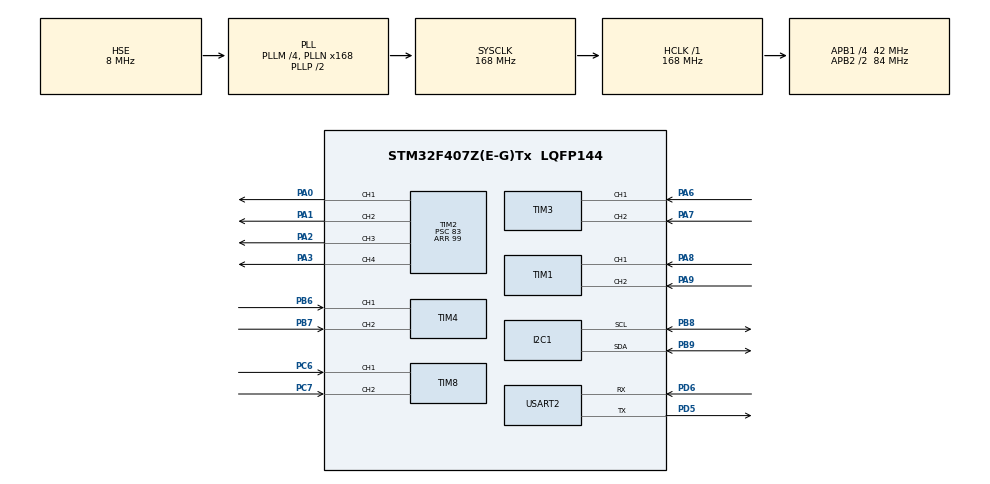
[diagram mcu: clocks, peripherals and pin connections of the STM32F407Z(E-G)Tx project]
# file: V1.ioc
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Mcu.Family=STM32F4
Mcu.Name=STM32F407Z(E-G)Tx
Mcu.Package=LQFP144
NVIC.PriorityGroup=NVIC_PRIORITYGROUP_4
NVIC.RCC_IRQn=true\:0\:0\:false\:false\:true\:true\:false\:true
NVIC.TIM1_CC_IRQn=true\:0\:0\:false\:false\:true\:true\:true\:true
NVIC.TIM1_UP_TIM10_IRQn=true\:0\:0\:false\:false\:true\:true\:true\:true
NVIC.TIM3_IRQn=true\:0\:0\:false\:false\:true\:true\:true\:true
NVIC.TIM4_IRQn=true\:0\:0\:false\:false\:true\:true\:true\:true
NVIC.TIM8_CC_IRQn=true\:0\:0\:false\:false\:true\:true\:true\:true
NVIC.TIM8_UP_TIM13_IRQn=true\:0\:0\:false\:false\:true\:true\:true\:true
PA0-WKUP.Signal=S_TIM2_CH1_ETR
PA1.Signal=S_TIM2_CH2
PA13.Mode=Serial_Wire
PA13.Signal=SYS_JTMS-SWDIO
PA14.Mode=Serial_Wire
PA14.Signal=SYS_JTCK-SWCLK
PA2.Signal=S_TIM2_CH3
PA3.Signal=S_TIM2_CH4
PA6.GPIO_Speed=GPIO_SPEED_FREQ_MEDIUM
PA6.Signal=S_TIM3_CH1
PA7.GPIO_Speed=GPIO_SPEED_FREQ_MEDIUM
PA7.Signal=S_TIM3_CH2
PA8.GPIO_Speed=GPIO_SPEED_FREQ_MEDIUM
PA8.Signal=S_TIM1_CH1
PA9.GPIO_Speed=GPIO_SPEED_FREQ_MEDIUM
PA9.Signal=S_TIM1_CH2
PB6.GPIO_Speed=GPIO_SPEED_FREQ_MEDIUM
PB6.Signal=S_TIM4_CH1
PB7.GPIO_Speed=GPIO_SPEED_FREQ_MEDIUM
PB7.Signal=S_TIM4_CH2
PB8.Mode=I2C
PB8.Signal=I2C1_SCL
PB9.Mode=I2C
PB9.Signal=I2C1_SDA
PC6.Signal=S_TIM8_CH1
PC7.Signal=S_TIM8_CH2
PD5.Mode=Asynchronous
PD5.Signal=USART2_TX
PD6.Mode=Asynchronous
PD6.Signal=USART2_RX
PH0-OSC_IN.Mode=HSE-External-Oscillator
PH0-OSC_IN.Signal=RCC_OSC_IN
PH1-OSC_OUT.Mode=HSE-External-Oscillator
PH1-OSC_OUT.Signal=RCC_OSC_OUT
ProjectManager.HeapSize=0x200
ProjectManager.StackSize=0x400
ProjectManager.TargetToolchain=CMake
RCC.48MHZClocksFreq_Value=84000000
RCC.AHBFreq_Value=168000000
RCC.APB1CLKDivider=RCC_HCLK_DIV4
RCC.APB1Freq_Value=42000000
RCC.APB1TimFreq_Value=84000000
RCC.APB2CLKDivider=RCC_HCLK_DIV2
RCC.APB2Freq_Value=84000000
RCC.APB2TimFreq_Value=168000000
RCC.CortexFreq_Value=168000000
RCC.HCLKFreq_Value=168000000
RCC.HSE_VALUE=8000000
RCC.HSI_VALUE=16000000
RCC.LSE_VALUE=32768
RCC.PLLM=4
RCC.PLLN=168
RCC.PLLSourceVirtual=RCC_PLLSOURCE_HSE
RCC.SYSCLKFreq_VALUE=168000000
RCC.SYSCLKSource=RCC_SYSCLKSOURCE_PLLCLK
RCC.VCOOutputFreq_Value=336000000
SH.S_TIM1_CH1.0=TIM1_CH1,Encoder_Interface
SH.S_TIM1_CH2.0=TIM1_CH2,Encoder_Interface
SH.S_TIM2_CH1_ETR.0=TIM2_CH1,PWM Generation1 CH1
SH.S_TIM2_CH2.0=TIM2_CH2,PWM Generation2 CH2
SH.S_TIM2_CH3.0=TIM2_CH3,PWM Generation3 CH3
SH.S_TIM2_CH4.0=TIM2_CH4,PWM Generation4 CH4
SH.S_TIM3_CH1.0=TIM3_CH1,Encoder_Interface
SH.S_TIM3_CH2.0=TIM3_CH2,Encoder_Interface
SH.S_TIM4_CH1.0=TIM4_CH1,Encoder_Interface
SH.S_TIM4_CH2.0=TIM4_CH2,Encoder_Interface
SH.S_TIM8_CH1.0=TIM8_CH1,Encoder_Interface
SH.S_TIM8_CH2.0=TIM8_CH2,Encoder_Interface
TIM2.AutoReloadPreload=TIM_AUTORELOAD_PRELOAD_ENABLE
TIM2.Channel-PWM\ Generation1\ CH1=TIM_CHANNEL_1
TIM2.Channel-PWM\ Generation2\ CH2=TIM_CHANNEL_2
TIM2.Channel-PWM\ Generation3\ CH3=TIM_CHANNEL_3
TIM2.Channel-PWM\ Generation4\ CH4=TIM_CHANNEL_4
TIM2.Period=99
TIM2.Prescaler=83
USART2.VirtualMode=VM_ASYNC
VP_TIM2_VS_ClockSourceINT.Mode=Internal
board=custom

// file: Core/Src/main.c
/* USER CODE BEGIN Header */
/**
  ******************************************************************************
  * @file           : main.c
  * @brief          : Main program body
  ******************************************************************************
  * @attention
  *
  * Copyright (c) 2026 STMicroelectronics.
  * All rights reserved.
  *
  * This software is licensed under terms that can be found in the LICENSE file
  * in the root directory of this software component.
  * If no LICENSE file comes with this software, it is provided AS-IS.
  *
  ******************************************************************************
  */
/* USER CODE END Header */
/* ============ main.c 是"总指挥所" ============
 * 它做两件事：
 *   1. main() 前半段：开机初始化（相当于"把全车的开关都打开一遍"）
 *   2. main() 后半段 while(1)：无限循环（相当于"之后每10ms把所有模块跑一圈"）
 *
 * 整个固件就是：左边开机做一次，右边之后不断重复。你学过的所有模块，
 * （串口/航向/电机PID/底盘/里程计）最终都被 main.c 这个"总指挥"每10ms串起来跑一遍。 */

#include "main.h"
#include "i2c.h"
#include "tim.h"
#include "usart.h"
#include "gpio.h"

/* USER CODE BEGIN Includes */
/* 引入自己写的各个模块的头文件（每个对应一个功能） */
#include "debug.h"       /* 调试日志 */
#include "pid.h"         /* PID 控制器 */
#include "motor.h"       /* 电机驱动 */
#include "uart_io.h"     /* 串口输入输出 */
#include "mpu9250.h"     /* 九轴传感器 */
#include "ahrs.h"        /* 航向估计 */
#include "chassis.h"     /* 底盘运动学 */
#include "odometry.h"    /* 里程计(EKF) */
#include "telemetry.h"   /* 遥测打包发送 */
#include "ota.h"         /* 在线升级 */
#include <string.h>
#include <stdlib.h>
#include <stdio.h>

/* 固件版本: 开机自动打印一次, 也可发送 VERSION 命令随时查询
 * 定义已移至 ota.h (RK OTA 侧 CMD_GET_VERSION 共用同一版本号)
 * v3.0-ODOMTEST (2026-08-29): ODOM 可靠里程计测试版 — 自适应EKF+监督层+ZUPT
 * V2.4.0 (2026-08-18): ZARU 零速零偏再估计 — 静止时自动重估陀螺零偏, 消除 HDG 匀速漂移
 * V2.0.0 (2026-08-12): 运动学 ROS 化 (Vx=前 Vy=左 Wz=逆时针正), IMU 旋转90°磁航向交换
 * V1.x   (2026-08-10): 电机方向标定定稿, 460800+DMA, 二进制帧, IDLE冻结, 符号修复 等 */

/* ZARU 零速零偏再估计: 四轮转速均低于该值 (RPM) 视为静止 */
/* 主循环靠这个判断"车是不是停了"，然后把结果告诉 AHRS 去做 ZARU */
#define ZARU_STATIONARY_RPM  1.0f

static char cmd_buf[128];       /**< 串口命令缓冲区：收到的命令字符先攒在这里 */
static uint8_t cmd_idx = 0;     /**< 缓冲区写入位置：已经攒到第几个字符了 */
/* USER CODE END PV */

void SystemClock_Config(void);
/* USER CODE BEGIN PFP */
static void ParseCommand(const char *cmd);
static void ReportStatus(void);
/* USER CODE END PFP */

/* 【中文名】主函数：程序的入口，从这里开始执行 */
int main(void)
{

  /* USER CODE BEGIN 1 */
  /* 防御：bootloader 跳转过来时中断可能是关的（不是真复位），主动打开。
   * 否则系统滴答时钟会被屏蔽，HAL_Delay 会死等（这是 OTA 踩过的坑） */
  __enable_irq();

  /* USER CODE END 1 */

  /* MCU Configuration--------------------------------------------------------*/

  /* 初始化 HAL 库（芯片底层库），它负责 sysTick 滴答时钟、Flash 等基础 */
  HAL_Init();

  /* 配置系统时钟到 168MHz */
  SystemClock_Config();

  /* ================================================================ */
  /* 第一步：初始化所有硬件外设（静默，此时 UART 尚不可用）            */
  /* ================================================================ */
  /* MX_xxx_Init 是 CubeMX 自动生成的函数，每个负责初始化一个外设：
   * GPIO=引脚, TIM=定时器(编码器/PWM), USART=串口, I2C=总线 */
  MX_GPIO_Init();
  MX_TIM1_Init();
  MX_TIM2_Init();
  MX_TIM3_Init();
  MX_TIM4_Init();
  MX_TIM8_Init();
  MX_USART2_UART_Init();
  MX_I2C1_Init();

  /* ================================================================ */
  /* 第二步：初始化串口 IO（printf 重定向）+ 调试日志系统              */
  /* ================================================================ */
  /* USER CODE BEGIN 2 */
  UART_IO_Init();                 /* 串口准备好（之后才能打印） */
  Debug_Init(DEBUG_LEVEL_INFO);   /* 调试日志系统开起来 */

  /* ================================================================ */
  /* 第三步：打印启动信息和初始化各个模块（此时 UART 已就绪）          */
  /* ================================================================ */
  UART_IO_Printf("\r\n=== STM32F407 Motor Control System ===\r\n");
  UART_IO_Printf("Firmware: " FIRMWARE_VERSION " (" FIRMWARE_DATE ", ROS kinematics: Vx=fwd Vy=left)\r\n");
  UART_IO_Printf("System Clock: 168MHz\r\n");

  /* 打印各外设就绪的日志 */
  DBG_INFO(TAG_MAIN,  "All peripherals initialized.");
  DBG_INFO(TAG_GPIO,  "GPIO initialized (PA/PB/PC/PD/PH)");
  DBG_INFO(TAG_TIM,   "TIM1 initialized (Encoder M1)");
  DBG_INFO(TAG_TIM,   "TIM2 initialized (PWM all motors)");
  DBG_INFO(TAG_TIM,   "TIM3 initialized (Encoder M2)");
  DBG_INFO(TAG_TIM,   "TIM4 initialized (Encoder M3)");
  DBG_INFO(TAG_TIM,   "TIM8 initialized (Encoder M4)");
  DBG_INFO(TAG_USART, "USART2 initialized (PD5=TX, PD6=RX, 460800 8N1, TX DMA)");
  DBG_INFO(TAG_I2C,   "I2C1 initialized (PB8=SCL, PB9=SDA, 100kHz)");

  /* 打印系统时钟详情 */
  DBG_INFO(TAG_SYSTEM, "HCLK=%lu Hz, PCLK1=%lu Hz, PCLK2=%lu Hz",
           (unsigned long)HAL_RCC_GetHCLKFreq(),
           (unsigned long)HAL_RCC_GetPCLK1Freq(),
           (unsigned long)HAL_RCC_GetPCLK2Freq());

  /* 初始化四个电机（配置编码器、PWM、PID） */
  DBG_INFO(TAG_MOTOR, "Initializing 4 motors...");
  Motor_InitAll();
  DBG_INFO(TAG_MOTOR, "Motors OK: 4 motors (TIM1/3/4/8 enc + TIM2 PWM)");
  UART_IO_Printf("Motors initialized: 4 motors (TIM1/3/4/8 encoder + TIM2 PWM)\r\n");

  /* 初始化 MPU9250 九轴传感器（加速度计+陀螺仪+磁力计） */
  UART_IO_Printf("Initializing MPU9250...\r\n");
  DBG_INFO(TAG_MPU, "Starting MPU9250 init (Gyro:250dps, Accel:2G, DLPF:42Hz, Mag:100Hz)...");
  int mpu_ret = MPU9250_Init(GYRO_FS_250, ACCEL_FS_2G, DLPF_42HZ, MAG_MODE_CONT_100HZ);
  if (mpu_ret == 0) {
    DBG_INFO(TAG_MPU, "MPU9250 init OK (Accel+Gyro+Mag)");
    UART_IO_Printf("MPU9250 OK! (Accel+Gyro+Mag)\r\n");

    /* 陀螺仪校准（保持传感器静止，采500个点求零偏） */
    DBG_INFO(TAG_MPU, "Calibrating gyroscope (500 samples, keep sensor still)...");
    UART_IO_Printf("Calibrating gyro (keep still)...\r\n");
    MPU9250_Calib calib;
    MPU9250_CalibrateGyro(500, &calib);
    UART_IO_Printf("Gyro offsets: X=%.3f Y=%.3f Z=%.3f\r\n",
                   calib.gyro_offset_x, calib.gyro_offset_y, calib.gyro_offset_z);
  } else if (mpu_ret == -1) {
    /* 各种失败原因分别提示 */
    DBG_ERROR(TAG_MPU, "I2C communication error! Check wiring (PB8=SCL, PB9=SDA)");
    UART_IO_Printf("MPU9250: I2C communication error!\r\n");
  } else if (mpu_ret == -2) {
    DBG_ERROR(TAG_MPU, "Wrong WHO_AM_I (expected 0x71)! Check MPU9250 chip");
    UART_IO_Printf("MPU9250: Wrong device ID (expected 0x71)!\r\n");
  } else if (mpu_ret == -3) {
    DBG_ERROR(TAG_MPU, "AK8963 magnetometer I2C error!");
    UART_IO_Printf("MPU9250: AK8963 magnetometer not found!\r\n");
  } else {
    DBG_ERROR(TAG_MPU, "AK8963 WIA mismatch (expected 0x48)!");
    UART_IO_Printf("MPU9250: AK8963 ID mismatch (expected 0x48)!\r\n");
  }

  /* 初始化航向参考系统 AHRS（读陀螺零偏、准备互补滤波） */
  DBG_INFO(TAG_AHRS, "Initializing AHRS...");
  AHRS_Init();
  DBG_INFO(TAG_AHRS, "AHRS initialized (complementary filter, alpha=0.98)");
  UART_IO_Printf("AHRS initialized.\r\n");

  /* 初始化底盘控制器（麦轮运动学 + 状态机，用默认配置） */
  DBG_INFO(TAG_CHASSIS, "Initializing chassis controller...");
  Chassis_Init(NULL);  /* NULL = 用默认麦轮配置 (65mm轮径, 150mm半轴距) */
  DBG_INFO(TAG_CHASSIS, "Chassis OK (Mecanum: Lx=75mm, Ly=75mm, max_spd=1.0m/s, max_ang=3.0rad/s)");
  UART_IO_Printf("Chassis initialized. (Mecanum: wheel=65mm, base=150x150mm)\r\n");

  /* 初始化里程计（编码器+IMU 融合，EKF） */
  DBG_INFO(TAG_MAIN, "Initializing odometry...");
  Odom_Init(NULL);
  DBG_INFO(TAG_MAIN, "Odometry OK (encoder+IMU dead reckoning)");

  /* 初始化遥测（默认关，等 TELEM,ON 命令才开） */
  DBG_INFO(TAG_MAIN, "Initializing telemetry...");
  Telemetry_Init(NULL);
  DBG_INFO(TAG_MAIN, "Telemetry OK (50Hz, disabled by default)");

  /* 打印"系统就绪" + 命令帮助菜单 */
  DBG_INFO(TAG_MAIN, "=== System ready ===");
  UART_IO_Printf("System ready.\r\n");
  UART_IO_Printf("=== Mecanum Velocity Control (continuous, use STOP to end) ===\r\n");
  UART_IO_Printf("  V,<Vx>,<Vy>,<Wz>  — Mecanum velocity vector (ROS convention)\r\n");
  UART_IO_Printf("  Vx=forward, Vy=left (m/s), Wz=CCW (rad/s)\r\n");
  UART_IO_Printf("  V,0.3,0.0,0.0   → forward 0.3m/s\r\n");
  UART_IO_Printf("  V,0.0,0.3,0.0   → strafe left 0.3m/s\r\n");
  UART_IO_Printf("  V,0.0,0.0,1.0   → rotate CCW 1.0rad/s\r\n");
  UART_IO_Printf("=== Individual Wheel Control ===\r\n");
  UART_IO_Printf("  W1,<RPM> ~ W4,<RPM>   WALL,<RPM>\r\n");
  UART_IO_Printf("  W1,DUTY,<-1..1>       W1,STOP\r\n");
  UART_IO_Printf("=== Navigation (auto-stop at distance) ===\r\n");
  UART_IO_Printf("  N,<m/s>,<m>   E,<m/s>,<m>   S,<m/s>,<m>   W,<m/s>,<m>\r\n");
  UART_IO_Printf("  DIR,<deg>,<m/s>,<m>\r\n");
  UART_IO_Printf("=== Motor Control (legacy) ===\r\n");
  UART_IO_Printf("  M1,<RPM> ~ M4,<RPM>   MALL,<RPM>\r\n");
  UART_IO_Printf("  M1,DUTY,<-1..1> (open loop)\r\n");
  UART_IO_Printf("  M1,STOP\r\n");
  UART_IO_Printf("=== Telemetry & Debug ===\r\n");
  UART_IO_Printf("  TELEM,ON     → enable 50Hz telemetry stream\r\n");
  UART_IO_Printf("  TELEM,OFF    → disable telemetry\r\n");
  UART_IO_Printf("  TELEM,<ms>   → set interval (0=fastest, 20=50Hz, 100=10Hz)\r\n");
  UART_IO_Printf("  TELEM,BIN    → binary frame (0xAA55+CRC8, 112B, raw IMU + ODOM diag)\r\n");
  UART_IO_Printf("  TELEM,ASCII  → text frame $T (default, for debugging)\r\n");
  UART_IO_Printf("  TELEM,NOW    → send one frame immediately\r\n");
  UART_IO_Printf("  ODORST       → reset odometry (x=0, y=0)\r\n");
  UART_IO_Printf("  ODOSET,<x>,<y>,<hdg> → set odometry pose\r\n");
  UART_IO_Printf("  MAGCAL,<ms> → magnetometer calibration (rotate 360°)\r\n");
  UART_IO_Printf("  ENCVAL       → read raw encoder counter values\r\n");
  UART_IO_Printf("  PIDTUNE,?    → query current PID parameters\r\n");
  UART_IO_Printf("  PWMSCAN,...  → PWM dead-zone scan\r\n");
  UART_IO_Printf("=== System ===\r\n");
  UART_IO_Printf("  STOP   STATUS   DEBUG   DEBUG,<0-5>\r\n\r\n");
  /* USER CODE END 2 */

  /* Infinite loop */
  /* USER CODE BEGIN WHILE */
  /* 【中文名】主循环：从这里开始程序永远在转圈，每10ms把所有模块跑一遍 */
  while (1)
  {
    /* USER CODE END WHILE */

    /* USER CODE BEGIN 3 */
    /* ============================================================ */
    /* 1. 读取串口命令（从中断接收仓库取字节，攒成一行，遇回车就解析） */
    /* ============================================================ */
    while (UART_IO_Available() > 0) {   /* 接收仓库里还有字节吗？ */
        uint8_t ch;
        if (UART_IO_GetChar(&ch)) {     /* 取一个字节出来 */
            if (ch == '\r' || ch == '\n') {
                /* 遇到回车/换行 = 一行命令结束，拿去解析 */
                if (cmd_idx > 0) {
                    cmd_buf[cmd_idx] = '\0';   /* 补字符串结尾标志 */
                    ParseCommand(cmd_buf);      /* 解析并执行这条命令 */
                    cmd_idx = 0;                /* 清空，准备收下一条 */
                }
            } else if (cmd_idx < (int)sizeof(cmd_buf) - 1) {
                /* 普通字符：追加到命令缓冲区 */
                cmd_buf[cmd_idx++] = (char)ch;
            }
        }
    }

    /* ============================================================ */
    /* 2. 测量实际控制周期（不写死10ms，而是真测这一圈花了多久）     */
    /* ============================================================ */
    {
        static uint32_t last_loop_tick = 0;   /* 上一圈的时刻（static=跨循环保留） */
        uint32_t now_tick = HAL_GetTick();    /* 现在时刻 */
        float actual_dt = 0.01f;              /* 首周期默认按10ms算 */
        if (last_loop_tick > 0) {
            uint32_t elapsed_ms = now_tick - last_loop_tick;  /* 这一圈实际耗时 */
            if (elapsed_ms > 0 && elapsed_ms < 500) {
                actual_dt = (float)elapsed_ms * 0.001f;   /* 毫秒转秒 */
            }
        }
        last_loop_tick = now_tick;

        /* ② 检测车是否静止（四轮转速都≈0），把结果告诉 AHRS 做 ZARU */
        {
            int stationary = 1;   /* 先假设静止 */
            for (int i = 0; i < 4; i++) {
                float rpm = Motor_GetSpeed((uint8_t)i);
                if (rpm > ZARU_STATIONARY_RPM || rpm < -ZARU_STATIONARY_RPM) {
                    stationary = 0;   /* 有轮子在转 → 不是静止 */
                    break;
                }
            }
            AHRS_SetStationary(stationary != 0);   /* 通知 AHRS */
        }
        AHRS_Update(actual_dt);        /* 更新航向（陀螺积分+ZARU） */

        /* ③ 更新里程计（EKF 预测+更新） */
        Odom_Update(actual_dt);

        /* ④ 更新底盘状态机（麦轮运动学，决定四轮转速） */
        Chassis_Update(actual_dt);

        /* ⑤ 更新所有电机（PID 调速 + PWM 输出） */
        Motor_UpdateAll(actual_dt);
    }

    /* ============================================================ */
    /* 5. 遥测发送（TELEM,ON 时按间隔自动发帧）                      */
    /* ============================================================ */
    Telemetry_Update();

    /* ============================================================ */
    /* 6. 周期上报状态（每 500ms 调一次 ReportStatus）               */
    /* ============================================================ */
    {
        static uint32_t report_tick = 0;
        report_tick++;
        if (report_tick >= 50) {  /* 50 × 10ms = 500ms */
            report_tick = 0;
            ReportStatus();   /* 汇报当前状态（状态/航向/距离等） */
        }
    }

    /* ============================================================ */
    /* 7. 调试心跳（每 1s 打印一次存活信息）                        */
    /* ============================================================ */
    {
        static uint32_t heartbeat_tick = 0;
        static uint32_t last_heartbeat_ms = 0;
        heartbeat_tick++;
        if (heartbeat_tick >= 100) {  /* 100 × 10ms = 1s */
            heartbeat_tick = 0;
            uint32_t now = HAL_GetTick();
            uint32_t elapsed = now - last_heartbeat_ms;
            last_heartbeat_ms = now;
            DBG_DEBUG(TAG_MAIN, "Heartbeat alive | t=%lu ms | dt=%lu ms | heading=%.1f° | state=%s",
                      (unsigned long)now, (unsigned long)elapsed,
                      Chassis_GetCurrentHeading(), Chassis_GetStateName());
        }
    }

    /* ============================================================ */
    /* 8. 板载 LED 闪烁（PC13，每500ms翻转 → 1Hz 可见闪烁）         */
    /* ============================================================ */
    {
        static uint32_t led_tick = 0;
        led_tick++;
        if (led_tick >= 50) {  /* 50 × 10ms = 500ms → 1Hz blink */
            led_tick = 0;
            HAL_GPIO_TogglePin(GPIOC, GPIO_PIN_13);   /* 翻转LED电平 */
        }
    }

    HAL_Delay(10);   /* 延时10ms → 让主循环以约100Hz(10ms/圈)运行 */
  }
  /* USER CODE END 3 */
}

void SystemClock_Config(void)
{
  RCC_OscInitTypeDef RCC_OscInitStruct = {0};
  RCC_ClkInitTypeDef RCC_ClkInitStruct = {0};

  /** Configure the main internal regulator output voltage
  */
  __HAL_RCC_PWR_CLK_ENABLE();
  __HAL_PWR_VOLTAGESCALING_CONFIG(PWR_REGULATOR_VOLTAGE_SCALE1);

  /** Initializes the RCC Oscillators according to the specified parameters
  * in the RCC_OscInitTypeDef structure.
  */
  RCC_OscInitStruct.OscillatorType = RCC_OSCILLATORTYPE_HSE;
  RCC_OscInitStruct.HSEState = RCC_HSE_ON;
  RCC_OscInitStruct.PLL.PLLState = RCC_PLL_ON;
  RCC_OscInitStruct.PLL.PLLSource = RCC_PLLSOURCE_HSE;
  RCC_OscInitStruct.PLL.PLLM = 4;
  RCC_OscInitStruct.PLL.PLLN = 168;
  RCC_OscInitStruct.PLL.PLLP = RCC_PLLP_DIV2;
  RCC_OscInitStruct.PLL.PLLQ = 4;
  if (HAL_RCC_OscConfig(&RCC_OscInitStruct) != HAL_OK)
  {
    Error_Handler();
  }

  /** Initializes the CPU, AHB and APB buses clocks
  */
  RCC_ClkInitStruct.ClockType = RCC_CLOCKTYPE_HCLK|RCC_CLOCKTYPE_SYSCLK
                              |RCC_CLOCKTYPE_PCLK1|RCC_CLOCKTYPE_PCLK2;
  RCC_ClkInitStruct.SYSCLKSource = RCC_SYSCLKSOURCE_PLLCLK;
  RCC_ClkInitStruct.AHBCLKDivider = RCC_SYSCLK_DIV1;
  RCC_ClkInitStruct.APB1CLKDivider = RCC_HCLK_DIV4;
  RCC_ClkInitStruct.APB2CLKDivider = RCC_HCLK_DIV2;

  if (HAL_RCC_ClockConfig(&RCC_ClkInitStruct, FLASH_LATENCY_5) != HAL_OK)
  {
    Error_Handler();
  }
}

/* USER CODE BEGIN 4 */

/**
 * @brief 解析串口命令并执行
 *
 * === 简单方向控制 (连续运动, 需 STOP 停止) ===
 *   FWD,<速度m/s>         → 前进
 *   BACK,<速度m/s>        → 后退
 *   LEFT,<角速度deg/s>    → 原地左转
 *   RIGHT,<角速度deg/s>   → 原地右转
 *
 * === 导航模式 (自动在目标距离停止) ===
 *   N,<速度>,<距离>       → 朝北
 *   E,<速度>,<距离>       → 朝东
 *   S,<速度>,<距离>       → 朝南
 *   W,<速度>,<距离>       → 朝西
 *   DIR,<航向度>,<速度>,<距离> → 任意方向
 *
 * === 单电机控制 ===
 *   M1,<RPM>              → 电机1 速度闭环
 *   M1,DUTY,<-1..1>       → 电机1 开环占空比
 *   M1,STOP               → 停止电机1
 *   MALL,<RPM>            → 全部电机速度闭环
 *   MALL,STOP             → 停止全部电机
 *
 * === 系统 ===
 *   STOP                   → 紧急停止
 *   STATUS                 → 查询状态
 */
/* 【中文名】解析命令（命令分发器）：收到一行文字命令，判断是什么命令，调用对应模块去执行。
 * 结构：一大串 if(strncmp(...)) 逐个比对命令开头，匹配到就执行然后 return。
 * strncmp = 比较字符串前几个字符是否相同（用来识别命令名） */
static void ParseCommand(const char *cmd)
{
    /* 跳过前导空格 */
    while (*cmd == ' ') cmd++;
    if (*cmd == '\0') return;   /* 空命令直接返回 */

    /* ================================================================ */
    /* OTA: RK3588 升级命令 (最高优先级, CMD_OTA_START 会软复位)        */
    /* ================================================================ */
    if (OTA_HandleCommand(cmd)) {   /* 交给 ota.c 处理，处理了就返回 */
        return;
    }

    /* ================================================================ */
    /* DEBUG: 调试指令                                                  */
    /* ================================================================ */
    if (Debug_ParseCommand(cmd)) {  /* 交给 debug 处理 */
        return;
    }

    /* ================================================================ */
    /* AHRSMAG: 磁力计融合开关 (默认 OFF 纯陀螺, 电机干扰时用 OFF)      */
    /*   AHRSMAG,ON / AHRSMAG,OFF / AHRSMAG (查询)                     */
    /* ================================================================ */
    if (strncmp(cmd, "AHRSMAG", 7) == 0) {
        const char *arg = cmd + 7;
        while (*arg == ',' || *arg == ' ') arg++;
        if (strncmp(arg, "ON", 2) == 0 || strncmp(arg, "on", 2) == 0) {
            AHRS_SetMagFusion(true);
            UART_IO_Printf("OK AHRS MAG ON\r\n");
        } else if (strncmp(arg, "OFF", 3) == 0 || strncmp(arg, "off", 3) == 0) {
            AHRS_SetMagFusion(false);
            UART_IO_Printf("OK AHRS MAG OFF\r\n");
        } else {
            UART_IO_Printf("AHRS MAG: %s\r\n",
                           AHRS_IsMagFusionEnabled() ? "ON" : "OFF (default)");
        }
        return;
    }

    /* ================================================================ */
    /* VERSION: 查询固件版本                                            */
    /* ================================================================ */
    if (strncmp(cmd, "VERSION", 7) == 0) {
        UART_IO_Printf("Firmware: " FIRMWARE_VERSION " (" FIRMWARE_DATE ")\r\n");
        return;
    }

    /* ================================================================ */
    /* V,<Vx>,<Vy>,<Wz>  — 麦轮速度矢量控制 (核心命令, ROS 约定)        */
    /*   例: V,0.2,0.0,0.5  → Vx=0.2m/s(前), Vy=0, ωz=0.5rad/s(左转)   */
    /*       V,0.3,0.0,0.0  → 前进 0.3m/s                              */
    /*       V,0.0,0.3,0.0  → 左移 0.3m/s                              */
    /*       V,0.0,0.0,1.0  → 原地左转 1.0rad/s (CCW)                  */
    /* ================================================================ */
    if (strncmp(cmd, "V,", 2) == 0) {
        float vx, vy, omega;
        if (sscanf(cmd, "%*[^,],%f,%f,%f", &vx, &vy, &omega) == 3) {
            Chassis_MoveMecanum(vx, vy, omega);
            UART_IO_Printf("OK Vx=%.3f Vy=%.3f Wz=%.3f\r\n", (double)vx, (double)vy, (double)omega);
        } else {
            UART_IO_Printf("ERR V,<Vx>,<Vy>,<Wz>  e.g. V,0.2,0.0,0.5\r\n");
        }
        return;
    }

    /* ================================================================ */
    /* TELEM: 遥测控制                                                   */
    /*   TELEM,ON / TELEM,OFF / TELEM,<interval_ms> / TELEM,NOW         */
    /* ================================================================ */
    if (strncmp(cmd, "TELEM", 5) == 0) {
        if (cmd[5] == ',' || cmd[5] == '\0' || cmd[5] == ' ') {
            const char *arg = cmd + 5;
            while (*arg == ',' || *arg == ' ') arg++;
            if (strncmp(arg, "ON", 2) == 0 || strncmp(arg, "on", 2) == 0) {
                Telemetry_SetEnabled(true);
                UART_IO_Printf("OK TELEM ON (50Hz)\r\n");
            } else if (strncmp(arg, "OFF", 3) == 0 || strncmp(arg, "off", 3) == 0) {
                Telemetry_SetEnabled(false);
                UART_IO_Printf("OK TELEM OFF\r\n");
            } else if (strncmp(arg, "NOW", 3) == 0 || strncmp(arg, "now", 3) == 0) {
                Telemetry_SendNow();
                UART_IO_Printf("OK TELEM sent one frame\r\n");
            } else if (strncmp(arg, "BIN", 3) == 0 || strncmp(arg, "bin", 3) == 0) {
                Telemetry_SetMode(TELEMETRY_MODE_BINARY);
                Telemetry_SetEnabled(true);
                UART_IO_Printf("OK TELEM BIN (0xAA55+CRC8, 112B, raw + ODOM diag)\r\n");
            } else if (strncmp(arg, "ASCII", 5) == 0 || strncmp(arg, "ascii", 5) == 0) {
                Telemetry_SetMode(TELEMETRY_MODE_ASCII);
                Telemetry_SetEnabled(true);
                UART_IO_Printf("OK TELEM ASCII ($T text)\r\n");
            } else {
                int interval;
                if (sscanf(arg, "%d", &interval) == 1) {
                    Telemetry_SetInterval((uint16_t)interval);
                    Telemetry_SetEnabled(true);
                    UART_IO_Printf("OK TELEM interval=%dms\r\n", interval);
                } else {
                    UART_IO_Printf("ERR TELEM,ON|OFF|<ms>|NOW\r\n");
                }
            }
        } else {
            UART_IO_Printf("ERR TELEM,ON|OFF|<ms>|NOW\r\n");
        }
        return;
    }

    /* ================================================================ */
    /* ODORST / ODOSET: 里程计控制                                       */
    /* ================================================================ */
    if (strncmp(cmd, "ODORST", 6) == 0) {
        Odom_Reset();
        UART_IO_Printf("OK Odometry reset (x=0, y=0)\r\n");
        return;
    }
    if (strncmp(cmd, "ODOSET,", 7) == 0) {
        float x, y, hdg;
        if (sscanf(cmd, "%*[^,],%f,%f,%f", &x, &y, &hdg) == 3) {
            Odom_SetPose(x, y, hdg);
            UART_IO_Printf("OK Odometry set: x=%.3f y=%.3f hdg=%.1f\r\n", (double)x, (double)y, (double)hdg);
        } else {
            UART_IO_Printf("ERR ODOSET,<x_m>,<y_m>,<heading_deg>\r\n");
        }
        return;
    }

    /* ================================================================ */
    /* MAGCAL: 磁力计 2D 平面校准 (硬铁 + 软铁)                          */
    /*   格式: MAGCAL,<duration_ms>                                      */
    /*   例:   MAGCAL,10000  → 采集 10 秒, 请水平旋转机器人 ≥360°        */
    /*   使用前: 将机器人放在水平面上, 远离大块金属                       */
    /*   使用中: 缓慢水平旋转机器人至少一整圈                             */
    /* ================================================================ */
    if (strncmp(cmd, "MAGCAL", 6) == 0) {
        uint32_t duration_ms = 10000;  /* 默认 10 秒 */
        if (cmd[6] == ',') {
            int dur = 0;
            if (sscanf(cmd + 7, "%d", &dur) == 1 && dur >= 3000 && dur <= 60000) {
                duration_ms = (uint32_t)dur;
            }
        }

        UART_IO_Printf("=== Magnetometer 2D Calibration ===\r\n");
        UART_IO_Printf("Duration: %lu ms\r\n", (unsigned long)duration_ms);
        UART_IO_Printf("Place robot on LEVEL surface.\r\n");
        UART_IO_Printf("SLOWLY rotate robot >= 360° in horizontal plane.\r\n");
        UART_IO_Printf("Calibrating... (LED will blink)\r\n");
        UART_IO_FlushTx();

        MPU9250_Calib calib;
        MPU9250_CalibrateMag(duration_ms, &calib);

        UART_IO_Printf("\r\n=== Calibration Results ===\r\n");
        UART_IO_Printf("Samples: many (min-max method)\r\n");
        UART_IO_Printf("Hard Iron:  X=%.1f  Y=%.1f uT\r\n",
                       (double)calib.mag_offset_x, (double)calib.mag_offset_y);
        UART_IO_Printf("Soft Iron:  X=%.3f  Y=%.3f\r\n",
                       (double)calib.mag_scale_x, (double)calib.mag_scale_y);
        UART_IO_Printf("OK MAG calibration applied!\r\n");
        return;
    }

    /* ================================================================ */
    /* GYROCAL: 手动重新校准陀螺仪 Z 轴零偏 (静止时执行)                */
    /*   格式: GYROCAL,<samples>                                        */
    /*   例:   GYROCAL,1000  -> 采集 1000 点，约 1 秒                  */
    /* ================================================================ */
    if (strncmp(cmd, "GYROCAL", 7) == 0) {
        uint16_t samples = 1000;  /* 默认 1000 点，约 1 秒 */
        if (cmd[7] == ',') {
            int n = 0;
            if (sscanf(cmd + 8, "%d", &n) == 1 && n > 0 && n <= 5000) {
                samples = (uint16_t)n;
            }
        }
        UART_IO_Printf("=== Gyro Z offset calibration ===\r\n");
        UART_IO_Printf("Keep robot COMPLETELY STILL.\r\n");
        UART_IO_Printf("Samples: %u (~%u ms)\r\n", (unsigned int)samples, (unsigned int)samples);
        UART_IO_FlushTx();

        AHRS_RecalibrateGyro(samples);

        UART_IO_Printf("OK GYROCAL done\r\n");
        return;
    }

    /* ================================================================ */
    /* W1~W4 / WALL: 单轮独立控制 (麦轮)                                 */
    /*   W1,<RPM> / W1,DUTY,<-1..1> / W1,STOP / WALL,<RPM>              */
    /* ================================================================ */
    if (cmd[0] == 'W' || cmd[0] == 'w') {
        int wheel_id = -1;   /* -1=ALL, 0=未匹配 */
        const char *sub = NULL;

        if      (strncmp(cmd, "W1,", 3) == 0 || strncmp(cmd, "w1,", 3) == 0) { wheel_id = 1; sub = cmd + 3; }
        else if (strncmp(cmd, "W2,", 3) == 0 || strncmp(cmd, "w2,", 3) == 0) { wheel_id = 2; sub = cmd + 3; }
        else if (strncmp(cmd, "W3,", 3) == 0 || strncmp(cmd, "w3,", 3) == 0) { wheel_id = 3; sub = cmd + 3; }
        else if (strncmp(cmd, "W4,", 3) == 0 || strncmp(cmd, "w4,", 3) == 0) { wheel_id = 4; sub = cmd + 3; }
        else if (strncmp(cmd, "WALL,", 5) == 0 || strncmp(cmd, "wall,", 5) == 0) { wheel_id = -1; sub = cmd + 5; }

        if (sub != NULL) {
            /* 已匹配到 W 命令, sub 指向子命令部分 */
            if (strncmp(sub, "STOP", 4) == 0) {
                if (wheel_id > 0) {
                    Chassis_StopWheel((uint8_t)wheel_id);
                    UART_IO_Printf("OK W%d STOP\r\n", wheel_id);
                } else {
                    Motor_StopAll();
                    UART_IO_Printf("OK WALL STOP\r\n");
                }
            } else if (strncmp(sub, "DUTY,", 5) == 0) {
                float duty;
                if (sscanf(sub, "%*[^,],%f", &duty) == 1) {
                    if (wheel_id > 0) {
                        Chassis_SetWheelDuty((uint8_t)wheel_id, duty);
                        UART_IO_Printf("OK W%d DUTY=%.2f\r\n", wheel_id, (double)duty);
                    } else {
                        for (uint8_t i = 1; i <= 4; i++)
                            Chassis_SetWheelDuty(i, duty);
                        UART_IO_Printf("OK WALL DUTY=%.2f\r\n", (double)duty);
                    }
                } else {
                    UART_IO_Printf("ERR Wx,DUTY,<-1..1>\r\n");
                }
            } else {
                float rpm;
                if (sscanf(sub, "%f", &rpm) == 1) {
                    if (wheel_id > 0) {
                        Chassis_SetWheelSpeed((uint8_t)wheel_id, rpm);
                        UART_IO_Printf("OK W%d RPM=%.0f\r\n", wheel_id, (double)rpm);
                    } else {
                        for (uint8_t i = 1; i <= 4; i++)
                            Chassis_SetWheelSpeed(i, rpm);
                        UART_IO_Printf("OK WALL RPM=%.0f\r\n", (double)rpm);
                    }
                } else {
                    UART_IO_Printf("ERR Wx,<RPM>\r\n");
                }
            }
            return;
        }
        /* W 开头但未匹配 W1~W4/WALL → 可能是导航 W, 继续往下匹配 */
    }

    /* ================================================================ */
    /* STOP: 紧急停止                                                    */
    /* ================================================================ */
    if (strncmp(cmd, "STOP", 4) == 0 && (cmd[4] == '\0' || cmd[4] == '\r' || cmd[4] == ' ')) {
        Chassis_Stop();
        UART_IO_Printf("OK STOP\r\n");
        return;
    }

    /* ================================================================ */
    /* STATUS: 查询状态                                                  */
    /* ================================================================ */
    if (strncmp(cmd, "STATUS", 6) == 0) {
        ReportStatus();
        return;
    }

    /* ================================================================ */
    /* ENCVAL: 读取编码器原始计数器值（诊断用）                          */
    /* ================================================================ */
    if (strncmp(cmd, "ENCVAL", 6) == 0) {
        UART_IO_Printf("=== Encoder Raw Counter Values ===\r\n");
        for (int i = 0; i < 4; i++) {
            uint16_t cnt = (uint16_t)__HAL_TIM_GET_COUNTER(g_motor[i].htim_encoder);
            uint32_t pulse = __HAL_TIM_GET_COMPARE(g_motor[i].htim_pwm, g_motor[i].pwm_channel);
            UART_IO_Printf("M%d (TIM%d): CNT=%5u, delta=%6ld, speed=%.0f RPM, duty=%.3f, pulse=%lu/%lu, mode=%s\r\n",
                           i + 1,
                           (g_motor[i].htim_encoder == &htim1) ? 1 :
                           (g_motor[i].htim_encoder == &htim3) ? 3 :
                           (g_motor[i].htim_encoder == &htim4) ? 4 : 8,
                           cnt,
                           (long)g_motor[i].count_delta,
                           (double)g_motor[i].speed_rpm,
                           (double)g_motor[i].duty,
                           (unsigned long)pulse, (unsigned long)g_motor[i].pwm_period,
                           g_motor[i].mode == MOTOR_MODE_SPEED ? "SPEED" : "OPEN");
        }
        return;
    }

    /* ================================================================ */
    /* PWMSCAN: 占空比扫描找电机死区 (阻塞式调试命令)                    */
    /*   格式: PWMSCAN,<motor>,<start>,<end>,<step>,<hold_ms>            */
    /*   例:   PWMSCAN,1,0.05,0.4,0.05,500                               */
    /*         → 电机1从5%扫到40%, 每次5%, 每步保持500ms                  */
    /*   例:   PWMSCAN,ALL,0.1,0.3,0.05,300                              */
    /*         → 四轮同时扫描                                            */
    /* ================================================================ */
    if (strncmp(cmd, "PWMSCAN,", 8) == 0) {
        char motor_str[8] = {0};
        float start_duty, end_duty, step;
        int hold_ms;
        int n = sscanf(cmd, "%*[^,],%7[^,],%f,%f,%f,%d",
                       motor_str, &start_duty, &end_duty, &step, &hold_ms);
        if (n < 5) {
            UART_IO_Printf("ERR PWMSCAN,<motor|ALL>,<start>,<end>,<step>,<hold_ms>\r\n");
            UART_IO_Printf("ERR  e.g. PWMSCAN,1,0.05,0.4,0.05,500\r\n");
            return;
        }
        if (hold_ms < 100)  hold_ms = 100;
        if (hold_ms > 5000) hold_ms = 5000;
        if (start_duty < 0.0f) start_duty = 0.0f;
        if (end_duty   > 1.0f) end_duty   = 1.0f;
        if (step <= 0.0f) step = 0.05f;
        if (start_duty >= end_duty) {
            UART_IO_Printf("ERR start must be < end\r\n");
            return;
        }

        /* 解析电机ID */
        int motor_id = -1;  /* -1=ALL */
        if (strcmp(motor_str, "ALL") == 0 || strcmp(motor_str, "all") == 0) {
            motor_id = -1;
        } else {
            motor_id = atoi(motor_str) - 1;
            if (motor_id < 0 || motor_id >= MOTOR_COUNT) {
                UART_IO_Printf("ERR motor must be 1-4 or ALL\r\n");
                return;
            }
        }

        UART_IO_Printf("=== PWM Scan %s: %.2f → %.2f step=%.2f hold=%dms ===\r\n",
                       (motor_id < 0) ? "ALL" :
                       (motor_id == 0 ? "M1" : motor_id == 1 ? "M2" :
                        motor_id == 2 ? "M3" : "M4"),
                       start_duty, end_duty, step, hold_ms);

        /* 先停所有电机 */
        Motor_StopAll();

        int total_steps = (int)((end_duty - start_duty) / step + 0.5f) + 1;
        float duty = start_duty;

        for (int s = 0; s < total_steps && duty <= end_duty + 0.0001f; s++, duty += step) {
            if (duty > end_duty) duty = end_duty;

            /* 设置占空比 */
            if (motor_id < 0) {
                for (int i = 0; i < MOTOR_COUNT; i++) {
                    Motor_SetDuty((uint8_t)i, duty);
                }
            } else {
                Motor_SetDuty((uint8_t)motor_id, duty);
            }

            /* 等待电机响应 (分小段等, 避免阻塞太久) */
            for (int w = 0; w < hold_ms / 10; w++) {
                HAL_Delay(10);
                /* 每 100ms 刷新看门狗/处理串口 */
                if (w % 10 == 9) {
                    while (UART_IO_Available() > 0) {
                        uint8_t ch;
                        if (UART_IO_GetChar(&ch) && (ch == '\r' || ch == '\n')) {
                            /* 检测到回车 → 中止扫描 */
                            Motor_StopAll();
                            UART_IO_Printf("\r\nABORTED by user\r\n");
                            return;
                        }
                    }
                }
                Motor_UpdateAll(0.01f);
            }

            /* 读取编码器并输出 */
            if (motor_id < 0) {
                UART_IO_Printf("DUTY=%.2f | ", duty);
                for (int i = 0; i < MOTOR_COUNT; i++) {
                    UART_IO_Printf("M%d:%.0fRPM%s", i + 1, (double)g_motor[i].speed_rpm,
                                   (i < MOTOR_COUNT - 1) ? " " : "");
                }
                UART_IO_Printf("\r\n");
            } else {
                UART_IO_Printf("DUTY=%.2f | M%d: delta=%ld cnt, speed=%.0f RPM, pulse=%lu\r\n",
                               duty, motor_id + 1,
                               (long)g_motor[motor_id].count_delta,
                               (double)g_motor[motor_id].speed_rpm,
                               (unsigned long)__HAL_TIM_GET_COMPARE(
                                   g_motor[motor_id].htim_pwm,
                                   g_motor[motor_id].pwm_channel));
            }
        }

        Motor_StopAll();
        UART_IO_Printf("=== Scan complete ===\r\n");
        return;
    }

    /* ================================================================ */
    /* PWM: 直接指定 pulse 值 (0~99), 正=前进 负=后退                     */
    /*   格式: PWM,<motor|ALL>,<pulse>                                   */
    /*   例:   PWM,1,20    → 电机1 pulse=20/99 前进 (~20%)               */
    /*         PWM,1,-15   → 电机1 pulse=15/99 后退 (~15%)               */
    /*         PWM,ALL,30  → 四轮 pulse=30/99 前进 (~30%)               */
    /* ================================================================ */
    if (strncmp(cmd, "PWM,", 4) == 0) {
        char motor_str[8] = {0};
        int pulse;
        int n = sscanf(cmd, "%*[^,],%7[^,],%d", motor_str, &pulse);
        if (n != 2) {
            UART_IO_Printf("ERR PWM,<motor|ALL>,<pulse>  e.g. PWM,1,20\r\n");
            return;
        }
        int dir = (pulse >= 0) ? 1 : -1;
        int abs_pulse = (pulse >= 0) ? pulse : -pulse;
        if (abs_pulse > 99) abs_pulse = 99;

        int motor_id = -1;
        if (strcmp(motor_str, "ALL") == 0 || strcmp(motor_str, "all") == 0) {
            motor_id = -1;
        } else {
            motor_id = atoi(motor_str) - 1;
            if (motor_id < 0 || motor_id >= MOTOR_COUNT) {
                UART_IO_Printf("ERR motor must be 1-4 or ALL\r\n");
                return;
            }
        }

        const char *dir_str = (dir >= 0) ? "FWD" : "REV";

        if (motor_id < 0) {
            Motor_StopAll();
            for (int i = 0; i < MOTOR_COUNT; i++) {
                if (dir >= 0) {
                    HAL_GPIO_WritePin(g_motor[i].in1_port, g_motor[i].in1_pin, GPIO_PIN_SET);
                    HAL_GPIO_WritePin(g_motor[i].in2_port, g_motor[i].in2_pin, GPIO_PIN_RESET);
                } else {
                    HAL_GPIO_WritePin(g_motor[i].in1_port, g_motor[i].in1_pin, GPIO_PIN_RESET);
                    HAL_GPIO_WritePin(g_motor[i].in2_port, g_motor[i].in2_pin, GPIO_PIN_SET);
                }
                __HAL_TIM_SET_COMPARE(g_motor[i].htim_pwm, g_motor[i].pwm_channel, (uint32_t)abs_pulse);
            }
            UART_IO_Printf("OK PWM ALL=%s pulse=%d/99 (%.0f%%)\r\n",
                           dir_str, abs_pulse, abs_pulse * 100.0f / 99.0f);
        } else {
            Motor_Stop((uint8_t)motor_id);
            if (dir >= 0) {
                HAL_GPIO_WritePin(g_motor[motor_id].in1_port, g_motor[motor_id].in1_pin, GPIO_PIN_SET);
                HAL_GPIO_WritePin(g_motor[motor_id].in2_port, g_motor[motor_id].in2_pin, GPIO_PIN_RESET);
            } else {
                HAL_GPIO_WritePin(g_motor[motor_id].in1_port, g_motor[motor_id].in1_pin, GPIO_PIN_RESET);
                HAL_GPIO_WritePin(g_motor[motor_id].in2_port, g_motor[motor_id].in2_pin, GPIO_PIN_SET);
            }
            __HAL_TIM_SET_COMPARE(g_motor[motor_id].htim_pwm, g_motor[motor_id].pwm_channel, (uint32_t)abs_pulse);
            UART_IO_Printf("OK PWM M%d=%s pulse=%d/99 (%.0f%%)\r\n",
                           motor_id + 1, dir_str, abs_pulse, abs_pulse * 100.0f / 99.0f);
        }
        return;
    }

    /* ================================================================ */
    /* PIDTUNE: 在线调整电机 PID 参数 (无须重新编译)                      */
    /*   格式: PIDTUNE,<motor|ALL>,<Kp>,<Ki>,<Kd>                        */
    /*   例:   PIDTUNE,ALL,0.001,0.015,0.00001                           */
    /*         PIDTUNE,1,0.002,0.02,0.00001                              */
    /*   PIDTUNE,?    → 查看当前参数                                      */
    /* ================================================================ */
    if (strncmp(cmd, "PIDTUNE", 7) == 0) {
        if (cmd[7] == ',' || (cmd[7] == '?' && cmd[8] == '\0')) {
            if (cmd[7] == '?' && cmd[8] == '\0') {
                /* 查询当前 PID 参数 */
                UART_IO_Printf("=== Current PID Parameters ===\r\n");
                for (int i = 0; i < 4; i++) {
                    UART_IO_Printf("M%d: Kp=%.5f Ki=%.4f Kd=%.6f\r\n", i+1,
                                   (double)g_motor[i].pid_speed.Kp,
                                   (double)g_motor[i].pid_speed.Ki,
                                   (double)g_motor[i].pid_speed.Kd);
                }
                return;
            }
            char motor_str[8] = {0};
            float Kp, Ki, Kd;
            int n = sscanf(cmd, "%*[^,],%7[^,],%f,%f,%f", motor_str, &Kp, &Ki, &Kd);
            if (n != 4) {
                UART_IO_Printf("ERR PIDTUNE,<motor|ALL>,<Kp>,<Ki>,<Kd>\r\n");
                UART_IO_Printf("ERR  e.g. PIDTUNE,1,0.002,0.02,0.00001\r\n");
                return;
            }
            int motor_id = -1;
            if (strcmp(motor_str, "ALL") == 0 || strcmp(motor_str, "all") == 0) {
                motor_id = -1;
            } else {
                motor_id = atoi(motor_str) - 1;
                if (motor_id < 0 || motor_id >= MOTOR_COUNT) {
                    UART_IO_Printf("ERR motor must be 1-4 or ALL\r\n");
                    return;
                }
            }
            if (motor_id < 0) {
                for (int i = 0; i < MOTOR_COUNT; i++) {
                    PID_SetTunings(&g_motor[i].pid_speed, Kp, Ki, Kd);
                }
                UART_IO_Printf("OK PIDTUNE ALL Kp=%.5f Ki=%.4f Kd=%.6f\r\n", Kp, Ki, Kd);
            } else {
                PID_SetTunings(&g_motor[motor_id].pid_speed, Kp, Ki, Kd);
                UART_IO_Printf("OK PIDTUNE M%d Kp=%.5f Ki=%.4f Kd=%.6f\r\n", motor_id+1, Kp, Ki, Kd);
            }
            return;
        }
    }

    /* ================================================================ */
    /* 简单方向控制: FWD / BACK / LEFT / RIGHT (PID 速度闭环)            */
    /* ================================================================ */
    if (strncmp(cmd, "FWD,", 4) == 0) {
        float speed;
        if (sscanf(cmd, "%*[^,],%f", &speed) == 1 && speed > 0) {
            Chassis_MoveManual(speed, 0.0f);
            UART_IO_Printf("OK FWD %.2f m/s\r\n", speed);
        } else {
            UART_IO_Printf("ERR FWD,<speed_mps>  e.g. FWD,0.5\r\n");
        }
        return;
    }

    if (strncmp(cmd, "BACK,", 5) == 0) {
        float speed;
        if (sscanf(cmd, "%*[^,],%f", &speed) == 1 && speed > 0) {
            Chassis_MoveManual(-speed, 0.0f);
            UART_IO_Printf("OK BACK %.2f m/s\r\n", speed);
        } else {
            UART_IO_Printf("ERR BACK,<speed_mps>  e.g. BACK,0.3\r\n");
        }
        return;
    }

    if (strncmp(cmd, "LEFT,", 5) == 0) {
        float angular;
        if (sscanf(cmd, "%*[^,],%f", &angular) == 1 && angular > 0) {
            Chassis_MoveManual(0.0f, angular);
            UART_IO_Printf("OK LEFT %.1f deg/s\r\n", angular);
        } else {
            UART_IO_Printf("ERR LEFT,<deg_per_sec>  e.g. LEFT,90\r\n");
        }
        return;
    }

    if (strncmp(cmd, "RIGHT,", 6) == 0) {
        float angular;
        if (sscanf(cmd, "%*[^,],%f", &angular) == 1 && angular > 0) {
            Chassis_MoveManual(0.0f, -angular);
            UART_IO_Printf("OK RIGHT %.1f deg/s\r\n", angular);
        } else {
            UART_IO_Printf("ERR RIGHT,<deg_per_sec>  e.g. RIGHT,90\r\n");
        }
        return;
    }

    /* ================================================================ */
    /* 开环方向控制 (不用 PID, 纯占空比):                                */
    /*   DUTY_FWD,<0..1>   DUTY_BACK,<0..1>                             */
    /*   DUTY_LEFT,<0..1>  DUTY_RIGHT,<0..1>                            */
    /* 用于诊断 PID/编码器是否引起振荡                                    */
    /* ================================================================ */
    if (strncmp(cmd, "DUTY_FWD,", 9) == 0) {
        float duty;
        if (sscanf(cmd, "%*[^,],%f", &duty) == 1 && duty > 0 && duty <= 1.0f) {
            Chassis_Stop();  /* 关闭底盘状态机, 防止 SetDiffDrive 覆盖 */
            Motor_StopAll();
            Motor_SetDuty(MOTOR_LEFT_FRONT,  duty);
            Motor_SetDuty(MOTOR_LEFT_REAR,   duty);
            Motor_SetDuty(MOTOR_RIGHT_FRONT, duty);
            Motor_SetDuty(MOTOR_RIGHT_REAR,  duty);
            UART_IO_Printf("OK DUTY_FWD %.2f (OPEN_LOOP, no PID, no encoder)\r\n", duty);
        } else {
            UART_IO_Printf("ERR DUTY_FWD,<0..1>  e.g. DUTY_FWD,0.3\r\n");
        }
        return;
    }

    if (strncmp(cmd, "DUTY_BACK,", 10) == 0) {
        float duty;
        if (sscanf(cmd, "%*[^,],%f", &duty) == 1 && duty > 0 && duty <= 1.0f) {
            Chassis_Stop();
            Motor_StopAll();
            Motor_SetDuty(MOTOR_LEFT_FRONT,  -duty);
            Motor_SetDuty(MOTOR_LEFT_REAR,   -duty);
            Motor_SetDuty(MOTOR_RIGHT_FRONT, -duty);
            Motor_SetDuty(MOTOR_RIGHT_REAR,  -duty);
            UART_IO_Printf("OK DUTY_BACK %.2f (OPEN_LOOP, no PID)\r\n", duty);
        } else {
            UART_IO_Printf("ERR DUTY_BACK,<0..1>  e.g. DUTY_BACK,0.3\r\n");
        }
        return;
    }

    if (strncmp(cmd, "DUTY_LEFT,", 10) == 0) {
        float duty;
        if (sscanf(cmd, "%*[^,],%f", &duty) == 1 && duty > 0 && duty <= 1.0f) {
            Chassis_Stop();
            Motor_StopAll();
            Motor_SetDuty(MOTOR_LEFT_FRONT,  -duty);
            Motor_SetDuty(MOTOR_LEFT_REAR,   -duty);
            Motor_SetDuty(MOTOR_RIGHT_FRONT,  duty);
            Motor_SetDuty(MOTOR_RIGHT_REAR,   duty);
            UART_IO_Printf("OK DUTY_LEFT %.2f (OPEN_LOOP, no PID)\r\n", duty);
        } else {
            UART_IO_Printf("ERR DUTY_LEFT,<0..1>  e.g. DUTY_LEFT,0.3\r\n");
        }
        return;
    }

    if (strncmp(cmd, "DUTY_RIGHT,", 11) == 0) {
        float duty;
        if (sscanf(cmd, "%*[^,],%f", &duty) == 1 && duty > 0 && duty <= 1.0f) {
            Chassis_Stop();
            Motor_StopAll();
            Motor_SetDuty(MOTOR_LEFT_FRONT,   duty);
            Motor_SetDuty(MOTOR_LEFT_REAR,    duty);
            Motor_SetDuty(MOTOR_RIGHT_FRONT, -duty);
            Motor_SetDuty(MOTOR_RIGHT_REAR,  -duty);
            UART_IO_Printf("OK DUTY_RIGHT %.2f (OPEN_LOOP, no PID)\r\n", duty);
        } else {
            UART_IO_Printf("ERR DUTY_RIGHT,<0..1>  e.g. DUTY_RIGHT,0.3\r\n");
        }
        return;
    }

    /* ================================================================ */
    /* 单电机控制: M1 / M2 / M3 / M4 / MALL                             */
    /* ================================================================ */
    if (cmd[0] == 'M') {
        int motor_id = -1;  /* -1=ALL */

        if (strncmp(cmd, "M1,", 3) == 0)      { motor_id = MOTOR_ID_1; cmd += 3; }
        else if (strncmp(cmd, "M2,", 3) == 0) { motor_id = MOTOR_ID_2; cmd += 3; }
        else if (strncmp(cmd, "M3,", 3) == 0) { motor_id = MOTOR_ID_3; cmd += 3; }
        else if (strncmp(cmd, "M4,", 3) == 0) { motor_id = MOTOR_ID_4; cmd += 3; }
        else if (strncmp(cmd, "MALL,", 5) == 0) { motor_id = -1; cmd += 5; }
        else {
            UART_IO_Printf("ERR Unknown motor command: %s\r\n", cmd);
            return;
        }

        /* 判断子命令类型 */
        if (strncmp(cmd, "STOP", 4) == 0) {
            /* Mx,STOP */
            if (motor_id >= 0) {
                Motor_Stop((uint8_t)motor_id);
                UART_IO_Printf("OK M%d STOP\r\n", motor_id + 1);
            } else {
                Motor_StopAll();
                UART_IO_Printf("OK MALL STOP\r\n");
            }
        } else if (strncmp(cmd, "DUTY,", 5) == 0) {
            /* Mx,DUTY,<duty> */
            float duty;
            if (sscanf(cmd, "%*[^,],%f", &duty) == 1) {
                if (motor_id >= 0) {
                    Motor_SetDuty((uint8_t)motor_id, duty);
                    UART_IO_Printf("OK M%d DUTY=%.2f\r\n", motor_id + 1, duty);
                } else {
                    for (uint8_t i = 0; i < MOTOR_COUNT; i++) {
                        Motor_SetDuty(i, duty);
                    }
                    UART_IO_Printf("OK MALL DUTY=%.2f\r\n", duty);
                }
            } else {
                UART_IO_Printf("ERR Mx,DUTY,<-1..1>\r\n");
            }
        } else {
            /* Mx,<RPM> 速度闭环 */
            float rpm;
            if (sscanf(cmd, "%f", &rpm) == 1) {
                if (motor_id >= 0) {
                    Motor_SetSpeed((uint8_t)motor_id, rpm);
                    UART_IO_Printf("OK M%d RPM=%.0f\r\n", motor_id + 1, rpm);
                } else {
                    for (uint8_t i = 0; i < MOTOR_COUNT; i++) {
                        Motor_SetSpeed(i, rpm);
                    }
                    UART_IO_Printf("OK MALL RPM=%.0f\r\n", rpm);
                }
            } else {
                UART_IO_Printf("ERR Mx,<RPM>\r\n");
            }
        }
        return;
    }

    /* ================================================================ */
    /* 导航模式: N/E/S/W 或 DIR                                         */
    /* ================================================================ */
    float heading, speed, distance;
    char dir = cmd[0];

    if ((dir == 'N' || dir == 'E' || dir == 'S' || dir == 'W') && cmd[1] == ',') {
        /* 格式: X,<speed>,<distance> */
        if (sscanf(cmd, "%*c,%f,%f", &speed, &distance) != 2) {
            UART_IO_Printf("ERR Format: X,<speed_mps>,<distance_m>\r\n");
            return;
        }
        switch (dir) {
            case 'N': heading = 0.0f;   break;
            case 'E': heading = 90.0f;  break;
            case 'S': heading = 180.0f; break;
            case 'W': heading = 270.0f; break;
            default:  return;
        }
    } else if (strncmp(cmd, "DIR,", 4) == 0) {
        /* 格式: DIR,<heading_deg>,<speed>,<distance> */
        if (sscanf(cmd, "%*[^,],%f,%f,%f", &heading, &speed, &distance) != 3) {
            UART_IO_Printf("ERR Format: DIR,<deg>,<speed>,<distance>\r\n");
            return;
        }
    } else {
        UART_IO_Printf("ERR Unknown: %s\r\n", cmd);
        return;
    }

    /* 参数保护 */
    if (speed <= 0.0f)   speed = 0.5f;
    if (distance <= 0.0f) distance = 0.5f;

    /* 执行导航命令 */
    bool ok = Chassis_GoDirection(heading, speed, distance);
    if (ok) {
        const char *name;
        if (heading < 0.5f || heading > 359.5f)
            name = "North";
        else if (heading > 89.5f && heading < 90.5f)
            name = "East";
        else if (heading > 179.5f && heading < 180.5f)
            name = "South";
        else if (heading > 269.5f && heading < 270.5f)
            name = "West";
        else
            name = "Custom";

        UART_IO_Printf("OK Go: heading=%.0f°(%s) speed=%.2fm/s distance=%.2fm\r\n",
                       heading, name, speed, distance);
    } else {
        UART_IO_Printf("ERR Busy: chassis is executing a task\r\n");
    }
}

/**
 * @brief 上报当前状态到上位机 (使用里程计融合数据)
 */
/* 【中文名】汇报状态：每500ms向上位机发一行 $STAT 状态（状态/航向/坐标/距离/四轮转速） */
static void ReportStatus(void)
{
    const Odom_Pose *pose = Odom_GetPose();   /* 取里程计位姿 */
    float heading   = pose->heading;          /* 航向（度） */
    float traveled  = Chassis_GetTraveledDistance();   /* 已走距离 */
    float remaining = Chassis_GetRemainingDistance();  /* 剩余距离 */

    /* 读四个电机的当前转速 */
    float spd1 = Motor_GetSpeed(MOTOR_ID_1);
    float spd2 = Motor_GetSpeed(MOTOR_ID_2);
    float spd3 = Motor_GetSpeed(MOTOR_ID_3);
    float spd4 = Motor_GetSpeed(MOTOR_ID_4);

    /* 拼成一行 $STAT 发出去（.3f = 小数3位，%.1f = 小数1位，%.0f = 整数） */
    UART_IO_Printf("$STAT,%s,HDG=%.1f,X=%.3f,Y=%.3f,DIST=%.2f,REM=%.2f,"
                   "Vx=%.3f,Vy=%.3f,Wz=%.3f,"
                   "M1=%.0f,M2=%.0f,M3=%.0f,M4=%.0f\r\n",
                   Chassis_GetStateName(), heading,
                   (double)pose->x, (double)pose->y,
                   traveled, remaining,
                   (double)pose->vx, (double)pose->vy, (double)pose->omega,
                   spd1, spd2, spd3, spd4);
}

/* USER CODE END 4 */

void Error_Handler(void)
{
  /* USER CODE BEGIN Error_Handler_Debug */
  /* 尝试通过串口发送致命错误信息 */
  UART_IO_Print("\r\n!!!!!!!!!!!!!!!!!!!!!!!!!!!!!!!!!!!!!!!!\r\n");
  UART_IO_Printf("!!! FATAL ERROR at tick=%lu ms !!!\r\n", (unsigned long)HAL_GetTick());
  UART_IO_Print("!!! System halted. Check hardware!\r\n");
  UART_IO_Print("!!!!!!!!!!!!!!!!!!!!!!!!!!!!!!!!!!!!!!!!\r\n");

  /* 等待串口发送完成 */
  for (volatile uint32_t i = 0; i < 1000000; i++) { __NOP(); }

  __disable_irq();
  while (1)
  {
  }
  /* USER CODE END Error_Handler_Debug */
}
